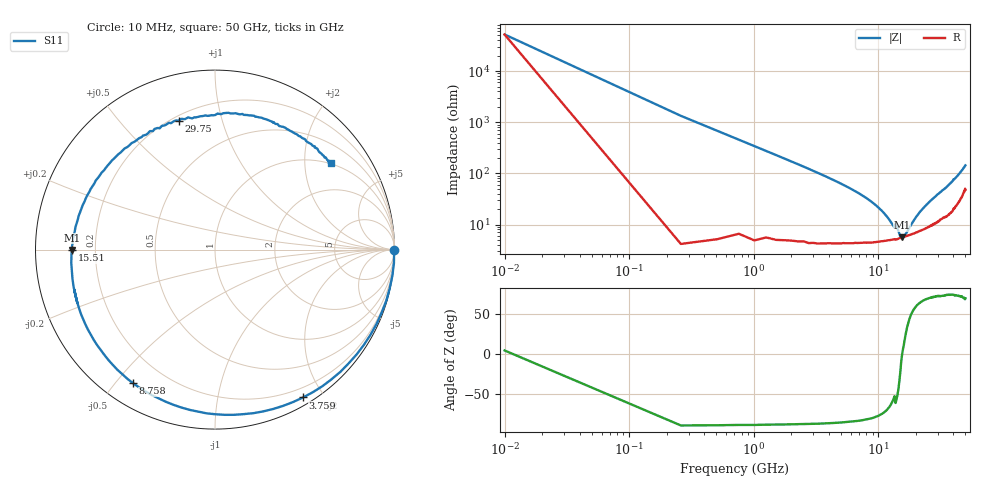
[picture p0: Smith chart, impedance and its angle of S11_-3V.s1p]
!Agilent Technologies,N5227A,US51270434,A.10.00.00
!Agilent N5227A: A.10.00.00
!Date: Thursday, February 26, 2026 11:55:22
!Correction: S11(Full 1 Port(1))
!S1P File: Measurement: S11:
# Hz S  dB  R 50
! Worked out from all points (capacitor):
!   201 points, 10 MHz to 50 GHz, reference 50 ohm
!   read as one part to ground: C = 459 fF near 259.9 MHz
!   lowest |Z| = 5.62 ohm at 15.51 GHz (marker M1)
!   series resonance near 15.53 GHz, so ESL is about 230 pH
!   S11 on the Smith chart (normalised r, x): 10 MHz: open; 3.759 GHz: 0.09, -1.76; 8.758 GHz: 0.09, -0.56; 15.51 GHz: 0.11, -0.00; 29.75 GHz: 0.23, +0.73; 50 GHz: 0.96, +2.71
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1e7  -0.02 0.0
1.0098e9  -0.04 -16.6
1.75965e9  -0.11 -28.7
2.75945e9  -0.21 -44.3
3.75925e9  -0.37 -59.2
5.009e9  -0.57 -76.7
6.25875e9  -0.79 -93.0
7.5085e9  -1.00 -107.8
8.75825e9  -1.18 -121.5
1.075785e10  -1.46 -141.0
1.25075e10  -1.66 -156.2
1.35073e10  -1.77 -164.2
1.375725e10  -1.70 -158.8
1.55069e10  -1.96 -179.8
1.875625e10  -2.22 159.8
2.175565e10  -2.38 142.9
2.5005e10  -2.50 126.7
2.675465e10  -2.46 118.8
2.975405e10  -2.54 105.7
3.125375e10  -2.59 99.9
3.425315e10  -2.40 88.8
3.75025e10  -2.26 76.5
3.875225e10  -2.21 72.8
3.975205e10  -2.16 68.5
4.0002e10  -2.15 65.9
4.075185e10  -2.16 65.1
4.375125e10  -2.09 55.2
5e10  -1.83 36.8
